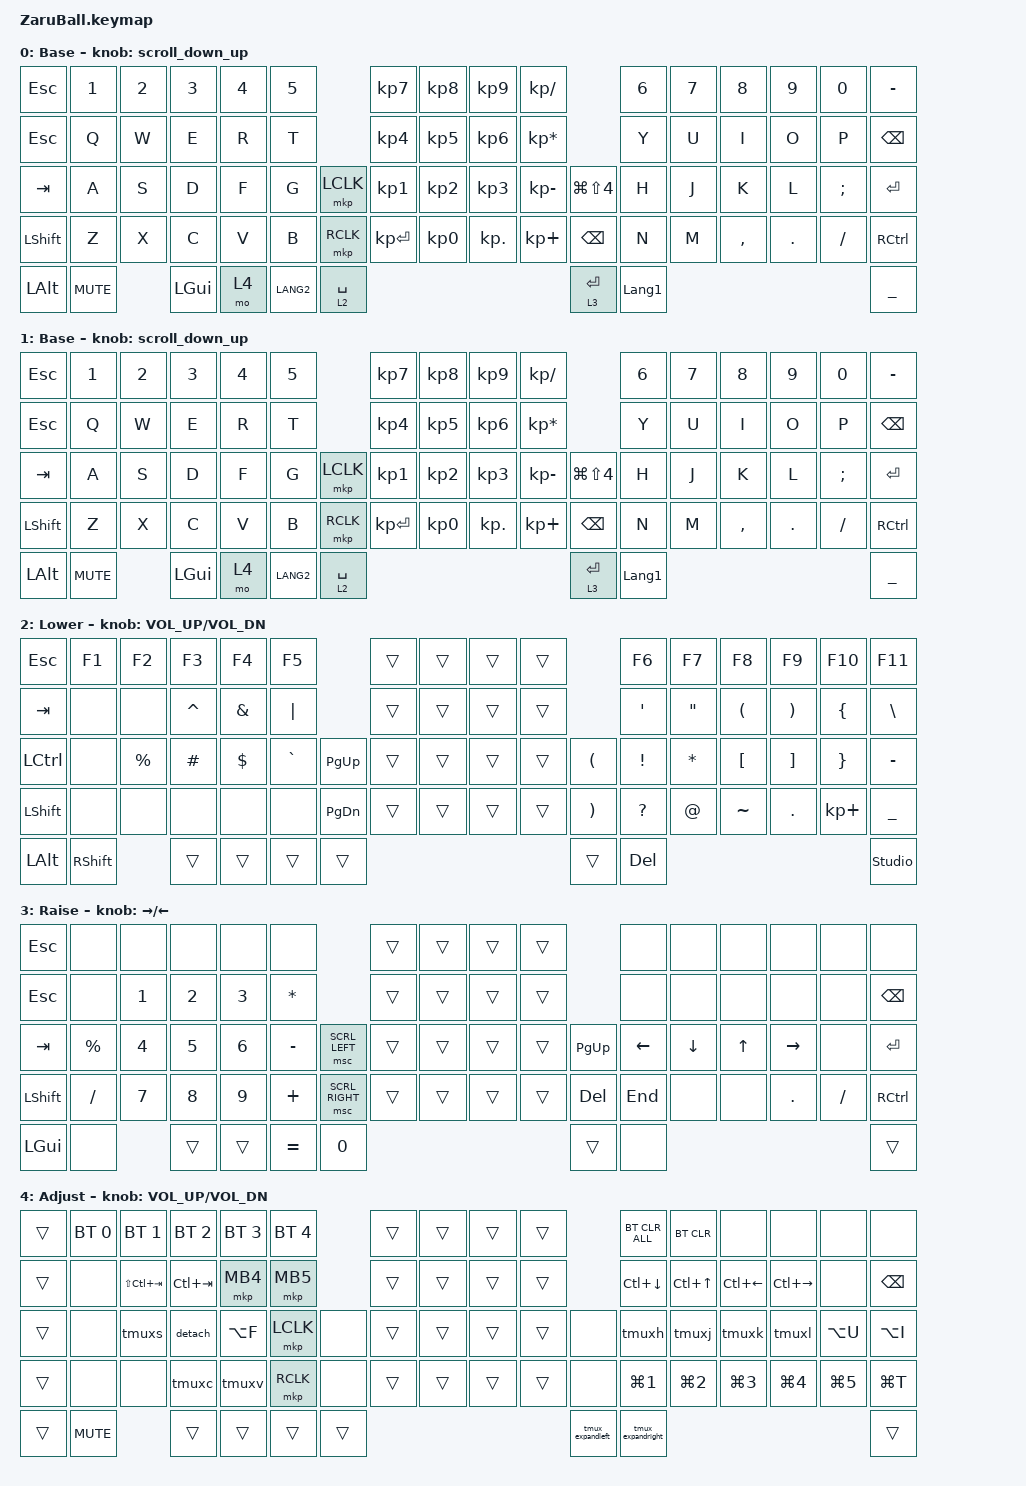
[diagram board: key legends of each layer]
//#include <dt-bindings/zmk/mouse.h>

#include <behaviors/rgbled_widget.dtsi>
#include <input/processors.dtsi>
#include <dt-bindings/zmk/input_transform.h>
#include <behaviors.dtsi>
#include <dt-bindings/zmk/bt.h>
#include <dt-bindings/zmk/keys.h>
#include <dt-bindings/zmk/pointing.h>

#define BASE     0
#define MOUSE    1
#define LOWER    2
#define RAISE    3
#define ADJUST   4
#define SCROLL   2

// スクロール量の設定

#define ZMK_POINTING_DEFAULT_SCRL_VAL 100

&trackball_listener {
    input-processors = <
                         &zip_xy_transform (INPUT_TRANSFORM_XY_SWAP | INPUT_TRANSFORM_Y_INVERT | INPUT_TRANSFORM_X_INVERT)
                         &zip_temp_layer MOUSE 500
    >;

    scroller {
        layers = <SCROLL>;
        input-processors = <
                            &zip_xy_transform (INPUT_TRANSFORM_XY_SWAP | INPUT_TRANSFORM_X_INVERT)
                            &zip_xy_scaler 1 20
                            &zip_xy_to_scroll_mapper
        >;
    };
};

/ {
    conditional_layers { compatible = "zmk,conditional-layers"; };
};

/ {
    behaviors {
        // スクロール用のbehaviorの設定

        scroll_down_up: behavior_sensor_rotate_mouse_wheel_down_up {
            compatible = "zmk,behavior-sensor-rotate";
            #sensor-binding-cells = <0>;
            bindings = <&msc SCRL_DOWN>, <&msc SCRL_UP>;

            tap-ms = <20>; // スクロールのタップ時間
        };

        td0: tap_dance_0 {
            compatible = "zmk,behavior-tap-dance";
            #binding-cells = <0>;
            tapping-term-ms = <200>;
            bindings = <&mt LALT LANG2>, <&mo 4>, <&mo 0>;
        };

        td1: tap_dance_1 {
            compatible = "zmk,behavior-tap-dance";
            #binding-cells = <0>;
            tapping-term-ms = <200>;
            bindings = <&mt RCTL LANG1>, <&mo 4>, <&mo 0>;
        };

        // Customed Hold-Tap for SandS

        SandS: SandS {
            compatible = "zmk,behavior-hold-tap";
            #binding-cells = <2>;
            flavor = "tap-unless-interrupted";
            tapping-term-ms = <500>;
            quick-tap-ms = <500>;
            bindings = <&kp>, <&kp>;

            display-name = "SandS";
        };

        tmuxh: tmuxh {
            compatible = "zmk,behavior-tap-dance";
            label = "TMUXH";
            #binding-cells = <0>;
            bindings = <&tmuxleft>, <&kp LA(H)>;
        };

        tmuxj: tmuxj {
            compatible = "zmk,behavior-tap-dance";
            label = "TMUXJ";
            #binding-cells = <0>;
            bindings = <&tmuxdown>, <&kp LA(J)>;
        };

        tmuxk: tmuxk {
            compatible = "zmk,behavior-tap-dance";
            label = "TMUXK";
            #binding-cells = <0>;
            bindings = <&tmuxup>, <&kp LA(K)>;
        };

        tmuxl: tmuxl {
            compatible = "zmk,behavior-tap-dance";
            label = "TMUXL";
            #binding-cells = <0>;
            bindings = <&tmuxright>, <&kp LA(L)>;
        };

        zoomup: zoomup {
            compatible = "zmk,behavior-sensor-rotate";
            #sensor-binding-cells = <0>;
            bindings = <&kp LG(PLUS)>, <&kp LG(MINUS)>;

            tap-ms = <20>;
            label = "ZOOMUP";
        };

        commandlang1: commandlang1 {
            compatible = "zmk,behavior-tap-dance";
            label = "COMMANDLANG1";
            #binding-cells = <0>;
            bindings = <&kp LANGUAGE_1>, <&kp LEFT_GUI>;
        };
    };
};

&sl { release-after-ms = <250>; }; // time needed for double click (for mkp_exit_AML)
/ {
    macros {
        // When in AML, move to default layer when key (except mouse button) pressed

        to_layer_0: to_layer_0 {
            compatible = "zmk,behavior-macro-one-param";
            #binding-cells = <1>;
            bindings = <&tog 0 &macro_param_1to1 &kp MACRO_PLACEHOLDER>;
            label = "TO_layer_0";
        };

        // When LCLK pressed, exit AML (after 250ms cause by sticky layer

        mkp_exit_AML: mkp_exit_AML {
            compatible = "zmk,behavior-macro-one-param";
            #binding-cells = <1>;
            bindings =
                <&macro_press>,
                <&macro_param_1to1 &mkp MACRO_PLACEHOLDER>,
                <&macro_pause_for_release>,
                <&macro_release>,
                <&macro_param_1to1 &mkp MACRO_PLACEHOLDER>,
                <&macro_tap>,
                <&sl 0>;

            label = "MKP_EXIT_AML";
        };

        detach: detach {
            compatible = "zmk,behavior-macro";
            #binding-cells = <0>;
            bindings = <&kp RC(B) &kp D>;
            label = "DETACH";
        };

        tmuxleft: tmuxleft {
            compatible = "zmk,behavior-macro";
            #binding-cells = <0>;
            bindings = <&kp RC(B) &kp LEFT_ARROW>;
            label = "TMUXLEFT";
        };

        tmuxright: tmuxright {
            compatible = "zmk,behavior-macro";
            #binding-cells = <0>;
            bindings = <&kp RC(B) &kp RIGHT>;
            label = "TMUXRIGHT";
        };

        tmuxup: tmuxup {
            compatible = "zmk,behavior-macro";
            #binding-cells = <0>;
            bindings = <&kp RC(B) &kp UP_ARROW>;
            label = "TMUXUP";
        };

        tmuxdown: tmuxdown {
            compatible = "zmk,behavior-macro";
            #binding-cells = <0>;
            bindings = <&kp RC(B) &kp DOWN>;
            label = "TMUXDOWN";
        };

        tmuxv: tmuxv {
            compatible = "zmk,behavior-macro";
            #binding-cells = <0>;
            bindings = <&kp RC(B) &kp DOUBLE_QUOTES>;
            label = "TMUXV";
        };

        tmuxs: tmuxs {
            compatible = "zmk,behavior-macro";
            #binding-cells = <0>;
            bindings = <&kp RC(B) &kp PERCENT>;
            label = "TMUXS";
        };

        tmuxc: tmuxc {
            compatible = "zmk,behavior-macro";
            #binding-cells = <0>;
            bindings = <&kp RC(B) &kp LBKT>;
            label = "TMUXC";
        };

        tmux_expandright: tmux_expandright {
            compatible = "zmk,behavior-macro";
            #binding-cells = <0>;
            bindings = <&kp RC(B) &kp LA(RIGHT)>;
            label = "TMUX_EXPANDRIGHT";
        };

        tmux_expandleft: tmux_expandleft {
            compatible = "zmk,behavior-macro";
            #binding-cells = <0>;
            bindings = <&kp RC(B) &kp LA(LEFT_ARROW)>;
            label = "TMUX_EXPANDLEFT";
        };
    };
};

/ {
    combos {
        compatible = "zmk,combos";

        raycast {
            bindings = <&kp LC(SPACE)>;
            key-positions = <75 72>;
        };

        leftclick {
            bindings = <&mkp LCLK>;
            key-positions = <45 46>;
        };

        rightclick {
            bindings = <&mkp RCLK>;
            key-positions = <47 46>;
        };
    };

    keymap {
        compatible = "zmk,keymap";

        base_layer {
            display-name = "Base";
            sensor-bindings = <&scroll_down_up>;
            bindings = <
&kp ESCAPE    &kp N1      &kp N2  &kp N3        &kp N4  &kp N5                    &kp KP_N7     &kp KP_N8  &kp KP_N9   &kp KP_DIVIDE                            &kp NUMBER_6    &kp N7  &kp N8     &kp N9   &kp N0    &kp MINUS
&kp ESCAPE    &kp Q       &kp W   &kp E         &kp R   &kp T                     &kp KP_N4     &kp KP_N5  &kp KP_N6   &kp KP_MULTIPLY                          &kp Y           &kp U   &kp I      &kp O    &kp P     &kp BACKSPACE
&kp TAB       &kp A       &kp S   &kp D         &kp F   &kp G      &mkp LCLK      &kp KP_N1     &kp KP_N2  &kp KP_N3   &kp KP_MINUS       &kp LG(LS(NUMBER_4))  &kp H           &kp J   &kp K      &kp L    &kp SEMI  &kp ENTER
&kp LSHIFT    &kp Z       &kp X   &kp C         &kp V   &kp B      &mkp RCLK      &kp KP_ENTER  &kp KP_N0  &kp KP_DOT  &kp KP_PLUS        &kp BACKSPACE         &kp N           &kp M   &kp COMMA  &kp DOT  &kp FSLH  &kp RCTRL
&kp LEFT_ALT  &kp C_MUTE          &kp LEFT_GUI  &mo 4   &kp LANG2  &lt 2 SPACE                                                            &lt 3 RET             &kp LANGUAGE_1                                        &kp UNDERSCORE
            >;
        };

        mouselayer {
            display-name = "Base";
            bindings = <
&kp ESCAPE    &kp N1      &kp N2  &kp N3        &kp N4  &kp N5                    &kp KP_N7     &kp KP_N8  &kp KP_N9   &kp KP_DIVIDE                            &kp NUMBER_6    &kp N7  &kp N8     &kp N9   &kp N0    &kp MINUS
&kp ESCAPE    &kp Q       &kp W   &kp E         &kp R   &kp T                     &kp KP_N4     &kp KP_N5  &kp KP_N6   &kp KP_MULTIPLY                          &kp Y           &kp U   &kp I      &kp O    &kp P     &kp BACKSPACE
&kp TAB       &kp A       &kp S   &kp D         &kp F   &kp G      &mkp LCLK      &kp KP_N1     &kp KP_N2  &kp KP_N3   &kp KP_MINUS       &kp LG(LS(NUMBER_4))  &kp H           &kp J   &kp K      &kp L    &kp SEMI  &kp ENTER
&kp LSHIFT    &kp Z       &kp X   &kp C         &kp V   &kp B      &mkp RCLK      &kp KP_ENTER  &kp KP_N0  &kp KP_DOT  &kp KP_PLUS        &kp BACKSPACE         &kp N           &kp M   &kp COMMA  &kp DOT  &kp FSLH  &kp RCTRL
&kp LEFT_ALT  &kp C_MUTE          &kp LEFT_GUI  &mo 4   &kp LANG2  &lt 2 SPACE                                                            &lt 3 RET             &kp LANGUAGE_1                                        &kp UNDERSCORE
            >;

            sensor-bindings = <&scroll_down_up>;
        };

        lower_layer {
            display-name = "Lower";
            sensor-bindings = <&inc_dec_kp C_VOL_UP C_VOL_DN>;
            bindings = <
&kp ESCAPE        &kp F1     &kp F2       &kp F3     &kp F4         &kp F5                  &trans  &trans  &trans  &trans              &kp F6            &kp F7             &kp F8            &kp F9                 &kp F10          &kp F11
&kp TAB           &none      &none        &kp CARET  &kp AMPERSAND  &kp PIPE                &trans  &trans  &trans  &trans              &kp SINGLE_QUOTE  &kp DOUBLE_QUOTES  &kp LPAR          &kp RIGHT_PARENTHESIS  &kp LEFT_BRACE   &kp BACKSLASH
&kp LEFT_CONTROL  &none      &kp PERCENT  &kp HASH   &kp DOLLAR     &kp GRAVE  &kp PG_UP    &trans  &trans  &trans  &trans    &kp LPAR  &kp EXCL          &kp ASTRK          &kp LEFT_BRACKET  &kp RIGHT_BRACKET      &kp RIGHT_BRACE  &kp MINUS
&kp LSHFT         &none      &none        &none      &none          &none      &kp PG_DN    &trans  &trans  &trans  &trans    &kp RPAR  &kp QUESTION      &kp AT             &kp TILDE         &kp PERIOD             &kp KP_PLUS      &kp UNDERSCORE
&kp LEFT_ALT      &kp RSHFT               &trans     &trans         &trans     &trans                                         &trans    &kp DEL                                                                                        &studio_unlock
            >;
        };

        raise_layer {
            display-name = "Raise";
            sensor-bindings = <&inc_dec_kp RIGHT LEFT>;
            bindings = <
&kp ESCAPE      &none        &none         &none         &none         &none                         &trans  &trans  &trans  &trans                &none           &none           &none   &none       &none      &none
&kp ESCAPE      &none        &kp NUMBER_1  &kp NUMBER_2  &kp NUMBER_3  &kp ASTRK                     &trans  &trans  &trans  &trans                &none           &none           &none   &none       &none      &kp BACKSPACE
&kp TAB         &kp PERCENT  &kp NUMBER_4  &kp NUMBER_5  &kp NUMBER_6  &kp MINUS  &msc SCRL_LEFT     &trans  &trans  &trans  &trans    &kp PG_UP   &kp LEFT_ARROW  &kp DOWN_ARROW  &kp UP  &kp RIGHT   &none      &kp ENTER
&kp LEFT_SHIFT  &kp SLASH    &kp N7        &kp NUMBER_8  &kp NUMBER_9  &kp PLUS   &msc SCRL_RIGHT    &trans  &trans  &trans  &trans    &kp DELETE  &kp END         &none           &none   &kp PERIOD  &kp SLASH  &kp RCTRL
&kp LEFT_GUI    &none                      &trans        &trans        &kp EQUAL  &kp NUMBER_0                                         &trans      &none                                                          &trans
            >;
        };

        adjust_layer {
            display-name = "Adjust";
            sensor-bindings = <&inc_dec_kp C_VOL_UP C_VOL_DN>;
            bindings = <
&trans  &bt BT_SEL 0  &bt BT_SEL 1     &bt BT_SEL 2  &bt BT_SEL 3  &bt BT_SEL 4            &trans  &trans  &trans  &trans                      &bt BT_CLR_ALL     &bt BT_CLR        &none             &none             &none             &none
&trans  &none         &kp LS(LC(TAB))  &kp LC(TAB)   &mkp MB4      &mkp MB5                &trans  &trans  &trans  &trans                      &kp LC(DOWN)       &kp LC(UP)        &kp LC(LEFT)      &kp LC(RIGHT)     &none             &kp BACKSPACE
&trans  &none         &tmuxs           &detach       &kp LA(F)     &mkp LCLK     &none     &trans  &trans  &trans  &trans    &none             &tmuxh             &tmuxj            &tmuxk            &tmuxl            &kp LA(U)         &kp LA(I)
&trans  &none         &none            &tmuxc        &tmuxv        &mkp RCLK     &none     &trans  &trans  &trans  &trans    &none             &kp LG(NUMBER_1)   &kp LG(NUMBER_2)  &kp LG(NUMBER_3)  &kp LG(NUMBER_4)  &kp LG(NUMBER_5)  &kp LG(T)
&trans  &kp C_MUTE                     &trans        &trans        &trans        &trans                                      &tmux_expandleft  &tmux_expandright                                                                          &trans
            >;
        };

        // Extra layer can be added in ZMK STUDIO
    };
};
